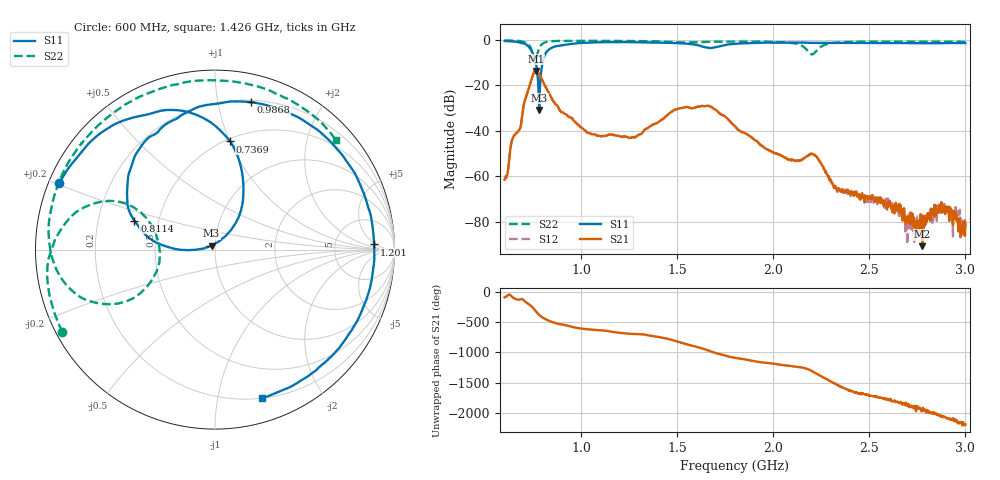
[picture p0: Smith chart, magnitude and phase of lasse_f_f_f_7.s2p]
#  HZ  S  RI  R  50.00
! Rohde & Schwarz ZVB8 2Ports - Version 2.81 - 1145.1010k08 SN: 100113
! Date: 2016-05-04 02:50:29
! Measurements: S11 S21 S12 S22
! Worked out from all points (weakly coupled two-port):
!   1000 points, 600 MHz to 3 GHz, reference 50 ohm
!   highest |S21| = -13.69 dB at 763.4 MHz (marker M1); lowest = -90.8 dB at 2.777 GHz (marker M2)
!   lowest |S11| = -30.9 dB at 780.2 MHz (marker M3), VSWR 1.06, Z = 48.1 + j2.04 ohm
!   |S11| at or under -10 dB: 762.3 MHz to 798.2 MHz (35.97 MHz wide, 4.61 % of centre)
!   |S22| runs from -10.3 to -0.3 dB; largest |S21 - S12| = 0.0039
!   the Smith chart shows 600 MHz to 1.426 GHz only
!   S11 on the Smith chart (normalised r, x): 600 MHz: 0.03, +0.20; 736.9 MHz: 0.52, +1.00; 811.4 MHz: 0.36, +0.15; 986.8 MHz: 0.22, +1.25; 1.201 GHz: 16, +4; 1.426 GHz: 0.21, -1.35
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6e8  -0.8668 0.3699  4.48e-05 -0.000838  9.62e-05 -0.0008  -0.8502 -0.459
6.912913e8  -0.3738 0.7532  -0.00971 -0.0189  -0.00943 -0.019  -0.9144 -0.00996
7.369369e8  0.0851 0.6025  -0.0805 0.088  -0.0799 0.0881  -0.5899 0.2718
7.633634e8  0.1538 0.2593  0.1609 0.1299  0.1578 0.1308  -0.3255 -0.1219
7.801802e8  -0.0193 0.0212  0.1684 -0.0537  0.1674 -0.0522  -0.5778 -0.3042
8.114114e8  -0.4485 0.1611  0.00447 -0.0949  0.00482 -0.0947  -0.8667 -0.1416
8.762763e8  -0.3338 0.643  -0.0337 -0.00945  -0.0335 -0.00958  -0.9164 0.2083
9.867868e8  0.1983 0.8219  -0.00676 0.0113  -0.00686 0.0113  -0.7394 0.5963
1.001201e9  0.277 0.8071  -0.00487 0.0106  -0.00491 0.0105  -0.7046 0.637
1.200601e9  0.8868 0.0286  0.0055 0.00513  0.0055 0.00508  -0.0781 0.9419
1.4e9  0.3802 -0.7816  0.014 -0.00644  0.014 -0.00636  0.6107 0.6881
1.426426e9  0.2622 -0.8246  0.0141 -0.0115  0.0142 -0.0114  0.6754 0.6086
1.659459e9  -0.4838 -0.4603  -0.014 0.0325  -0.0143 0.0324  0.8855 -0.1506
1.801201e9  -0.7776 -0.2528  0.012 -0.00263  0.012 -0.00254  0.6594 -0.6303
2.01982e9  -0.6427 0.5749  -0.00137 -0.00279  -0.00136 -0.00277  -0.0729 -0.891
2.142342e9  -0.232 0.8409  -0.00218 -0.000472  -0.00219 -0.0005  -0.4581 -0.6091
2.2e9  0.000624 0.8563  -0.00201 0.00233  -0.00205 0.0023  -0.2512 -0.4061
2.32973e9  0.5105 0.6865  -5.21e-05 -0.000507  -2.98e-05 -0.000504  -0.5793 -0.6475
2.601201e9  0.7611 -0.3726  0.000254 6.37e-05  0.000257 7.28e-05  -0.912 -0.0197
2.776577e9  0.2191 -0.8124  -2.43e-05 -1.56e-05  -3.33e-05 -3.18e-05  -0.8227 0.3782
2.877477e9  -0.1504 -0.8289  -3.66e-05 0.00019  -3.88e-05 0.000192  -0.7045 0.5689
3e9  -0.5554 -0.6378  7.27e-05 -5.2e-05  8.12e-05 -6.56e-06  -0.4936 0.7503
